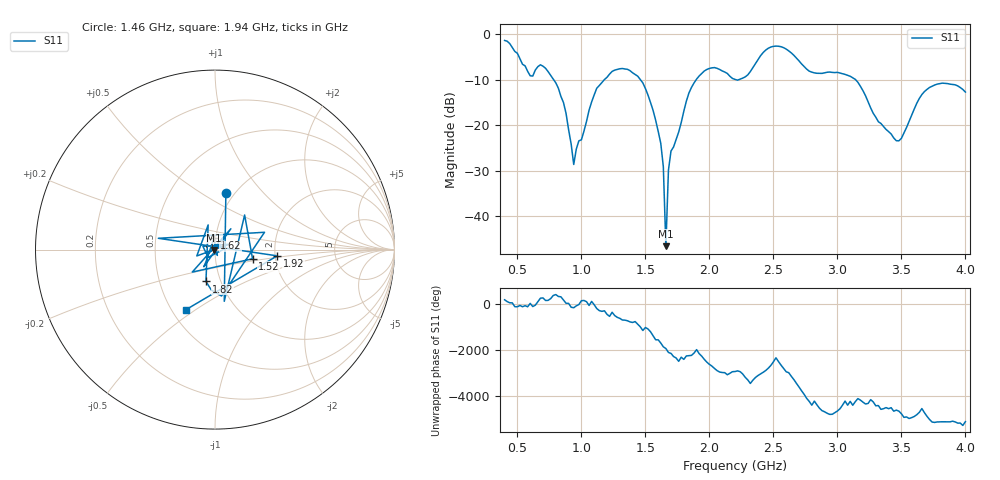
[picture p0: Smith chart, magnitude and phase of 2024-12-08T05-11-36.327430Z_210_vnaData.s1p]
!Created with skrf (http://scikit-rf.org).
# Hz S RI R 50.0
!freq ReS11 ImS11
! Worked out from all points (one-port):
!   181 points, 400 MHz to 4 GHz, reference 50 ohm
!   lowest |S11| = -46.6 dB at 1.66 GHz (marker M1), VSWR 1.01, Z = 49.6 - j0.266 ohm
!   |S11| at or under -10 dB: 784.1 MHz to 1.178 GHz (394.2 MHz wide, 40.2 % of centre); 1.462 GHz to 1.896 GHz (434.1 MHz wide, 25.9 % of centre); 3.143 GHz to end of sweep (the widest 3 of 4)
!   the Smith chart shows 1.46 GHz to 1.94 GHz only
!   S11 on the Smith chart (normalised r, x): 1.46 GHz: 0.92, +0.64; 1.52 GHz: 1.52, -0.16; 1.62 GHz: 0.98, +0.12; 1.82 GHz: 0.85, -0.31; 1.92 GHz: 2.05, -0.16; 1.94 GHz: 0.59, -0.46
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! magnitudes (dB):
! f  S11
! 400 MHz  -1.3
! 600 MHz  -9.1
! 720 MHz  -7.5
! 860 MHz  -15.0
! 940 MHz  -28.6
! 1.12 GHz  -11.8
! 1.3 GHz  -7.6
! 1.46 GHz  -9.9
! 1.52 GHz  -13.3
! 1.62 GHz  -23.9
! 1.64 GHz  -29.1
! 1.66 GHz  -46.6
! 1.68 GHz  -29.9
! 1.7 GHz  -25.7
! 1.76 GHz  -21.5
! 1.82 GHz  -14.7
! 1.92 GHz  -9.2
! 1.94 GHz  -8.6
! 2.04 GHz  -7.3
! 2.2 GHz  -9.9
! 2.48 GHz  -2.8
! 2.66 GHz  -4.6
! 2.8 GHz  -8.3
! 3.1 GHz  -9.2
! 3.46 GHz  -23.4
! 3.56 GHz  -19.1
! 3.72 GHz  -11.7
! 4 GHz  -12.7
